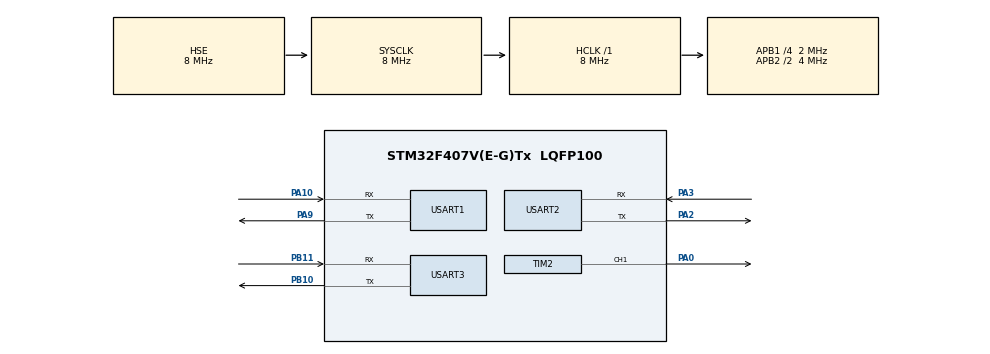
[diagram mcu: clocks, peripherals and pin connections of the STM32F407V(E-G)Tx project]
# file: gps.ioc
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FREERTOS.Tasks01=IDLE,-3,128,IDLE_Task,As weak,NULL,Dynamic,NULL,NULL
FREERTOS.configUSE_NEWLIB_REENTRANT=1
Mcu.Family=STM32F4
Mcu.Name=STM32F407V(E-G)Tx
Mcu.Package=LQFP100
NVIC.PriorityGroup=NVIC_PRIORITYGROUP_4
NVIC.TIM1_UP_TIM10_IRQn=true\:15\:0\:false\:false\:true\:false\:false\:true\:true
NVIC.TimeBase=TIM1_UP_TIM10_IRQn
NVIC.TimeBaseIP=TIM1
NVIC.USART1_IRQn=true\:5\:0\:false\:false\:true\:true\:true\:true\:true
NVIC.USART2_IRQn=true\:5\:0\:false\:false\:true\:true\:true\:true\:true
NVIC.USART3_IRQn=true\:5\:0\:false\:false\:true\:true\:true\:true\:true
PA0-WKUP.Signal=S_TIM2_CH1_ETR
PA10.Mode=Asynchronous
PA10.Signal=USART1_RX
PA13.Mode=Serial_Wire
PA13.Signal=SYS_JTMS-SWDIO
PA14.Mode=Serial_Wire
PA14.Signal=SYS_JTCK-SWCLK
PA2.Mode=Asynchronous
PA2.Signal=USART2_TX
PA3.Mode=Asynchronous
PA3.Signal=USART2_RX
PA9.Mode=Asynchronous
PA9.Signal=USART1_TX
PB10.Mode=Asynchronous
PB10.Signal=USART3_TX
PB11.Mode=Asynchronous
PB11.Signal=USART3_RX
PH0-OSC_IN.Mode=HSE-External-Oscillator
PH0-OSC_IN.Signal=RCC_OSC_IN
PH1-OSC_OUT.Mode=HSE-External-Oscillator
PH1-OSC_OUT.Signal=RCC_OSC_OUT
ProjectManager.HeapSize=0x200
ProjectManager.StackSize=0x400
ProjectManager.TargetToolchain=STM32CubeIDE
RCC.48MHZClocksFreq_Value=84000000
RCC.AHBFreq_Value=8000000
RCC.APB1CLKDivider=RCC_HCLK_DIV4
RCC.APB1Freq_Value=2000000
RCC.APB1TimFreq_Value=4000000
RCC.APB2CLKDivider=RCC_HCLK_DIV2
RCC.APB2Freq_Value=4000000
RCC.APB2TimFreq_Value=8000000
RCC.CortexFreq_Value=8000000
RCC.HCLKFreq_Value=8000000
RCC.HSE_VALUE=8000000
RCC.HSI_VALUE=16000000
RCC.LSE_VALUE=32768
RCC.PLLM=4
RCC.PLLN=168
RCC.PLLSourceVirtual=RCC_PLLSOURCE_HSE
RCC.SYSCLKFreq_VALUE=8000000
RCC.SYSCLKSource=RCC_SYSCLKSOURCE_HSE
RCC.VCOOutputFreq_Value=336000000
SH.S_TIM2_CH1_ETR.0=TIM2_CH1,PWM Generation1 CH1
TIM2.Channel-PWM\ Generation1\ CH1=TIM_CHANNEL_1
TIM2.Period=99
TIM2.Prescaler=8399
USART1.VirtualMode=VM_ASYNC
USART2.VirtualMode=VM_ASYNC
USART3.VirtualMode=VM_ASYNC
VP_FREERTOS_VS_CMSIS_V1.Mode=CMSIS_V1
VP_SYS_VS_tim1.Mode=TIM1
VP_TIM2_VS_ClockSourceINT.Mode=Internal
VP_TIM2_VS_ClockSourceITR.Mode=TriggerSource_ITR0
VP_TIM2_VS_ControllerModeGated.Mode=Gated Mode
board=custom

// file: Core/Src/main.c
/* USER CODE BEGIN Header */
/**
 ******************************************************************************
 * @file           : main.c
 * @brief          : Main program body
 ******************************************************************************
 * @attention
 *
 * Copyright (c) 2024 STMicroelectronics.
 * All rights reserved.
 *
 * This software is licensed under terms that can be found in the LICENSE file
 * in the root directory of this software component.
 * If no LICENSE file comes with this software, it is provided AS-IS.
 *
 ******************************************************************************
 */
/* USER CODE END Header */
#include "main.h"
#include "cmsis_os.h"

/* USER CODE BEGIN Includes */
#include <stdio.h>
#include <stdbool.h>
#include "gps.h"
#include "sim.h"
#include "FreeRTOSConfig.h"
/* USER CODE END Includes */

/* USER CODE BEGIN PD */
#define QUEUE_LENGTH 10      // �?ộ dài của queue
#define QUEUE_ITEM_SIZE 50   // Kích thước tối đa của mỗi chuỗi

#define LEN_COM_CMD 13
uint8_t COM_rx;
uint8_t COM_buffer[100];  // Bộ đệm để lưu chuỗi dữ liệu
uint8_t COM_idx = 0;      // Chỉ số để đánh dấu vị trí trong bộ đệm
bool is_COM_receiving = false; // Cờ để đánh dấu quá trình nhận dữ liệu

/* USER CODE END PD */

TIM_HandleTypeDef htim2;

UART_HandleTypeDef huart1;
UART_HandleTypeDef huart2;
UART_HandleTypeDef huart3;

osThreadId IDLEHandle;
/* USER CODE BEGIN PV */

osThreadId GPSHandle;
osThreadId COMHandle;
osThreadId OTAHandle;
osThreadId POSTHandle;
osThreadId WARNHandle;

osMutexId simMutexHandle;
osMessageQId gpsQueueHandle;
osMessageQId comQueueHandle;

/* USER CODE END PV */

void SystemClock_Config(void);
static void MX_GPIO_Init(void);
static void MX_TIM2_Init(void);
static void MX_USART1_UART_Init(void);
static void MX_USART2_UART_Init(void);
static void MX_USART3_UART_Init(void);
void IDLE_Task(void const *argument);

/* USER CODE BEGIN PFP */
void GPS_Task(void const *argument);
void COM_Task(void const *argument);
void OTA_Task(void const *argument);
void POST_Task(void const *argument);
void WARN_Task(void const *argument);

/* USER CODE END PFP */

/* USER CODE BEGIN 0 */
void HAL_UART_RxCpltCallback(UART_HandleTypeDef *huart) {
	if (huart->Instance == USART1) {
		// check ky tu start
		if (COM_rx == 'R') {
			memset(COM_buffer, 0, sizeof(COM_buffer));
			COM_idx = 0;
			is_COM_receiving = true;
		}

		// append data to com buffer
		if (is_COM_receiving) {
			COM_buffer[COM_idx] = COM_rx;
			COM_idx += 1;
		}

		// check ky tu ket thuc
		if (COM_rx == '#') {
			COM_buffer[COM_idx] = '\0';
			is_COM_receiving = false;
			if (COM_idx == LEN_COM_CMD) {
				if (osMessagePut(comQueueHandle, (uint32_t) COM_buffer, 1000) == osOK) {
					printf("Sent value: %s\n", COM_buffer);
				}
			}
		}
		HAL_UART_Receive_IT(&huart1, &COM_rx, 1);

	} else if (huart->Instance == USART2) {

	}
	if (huart->Instance == USART3) {

	}
}
/* USER CODE END 0 */

int main(void) {

	/* MCU Configuration--------------------------------------------------------*/

	/* Reset of all peripherals, Initializes the Flash interface and the Systick. */
	HAL_Init();

	/* Configure the system clock */
	SystemClock_Config();

	/* Initialize all configured peripherals */
	MX_GPIO_Init();
	MX_TIM2_Init();
	MX_USART1_UART_Init();
	MX_USART2_UART_Init();
	MX_USART3_UART_Init();
	/* USER CODE BEGIN 2 */
	HAL_UART_Receive_IT(&huart1, &COM_rx, 1);

	simInit();
	gpsInit();
	/* USER CODE END 2 */

	/* USER CODE BEGIN RTOS_MUTEX */
	/* add mutexes, ... */
	osMutexDef(simMutex);  // �?ịnh nghĩa Mutex
	simMutexHandle = osMutexCreate(osMutex(simMutex));
	/* USER CODE END RTOS_MUTEX */

	/* USER CODE BEGIN RTOS_QUEUES */
	osMessageQDef(gpsQueue, QUEUE_LENGTH, NULL);
	gpsQueueHandle = osMessageCreate(osMessageQ(gpsQueue), NULL);

	osMessageQDef(comQueue, QUEUE_LENGTH, NULL);
	comQueueHandle = osMessageCreate(osMessageQ(comQueue), NULL);
	/* add queues, ... */
	/* USER CODE END RTOS_QUEUES */

	/* Create the thread(s) */
	/* definition and creation of IDLE */
//  osThreadDef(IDLE, IDLE_Task, osPriorityIdle, 0, 128);
//  IDLEHandle = osThreadCreate(osThread(IDLE), NULL);
	/* USER CODE BEGIN RTOS_THREADS */
	/* add threads, ... */
	/* definition and creation of OTA */
	osThreadDef(OTA, OTA_Task, osPriorityHigh, 0, 5120);
	OTAHandle = osThreadCreate(osThread(OTA), NULL);

	/* definition and creation of WARN */
	osThreadDef(WARN, WARN_Task, osPriorityHigh, 0, 5120);
	WARNHandle = osThreadCreate(osThread(WARN), NULL);

	/* definition and creation of COM */
	osThreadDef(COM, COM_Task, osPriorityHigh, 0, 5120);
	COMHandle = osThreadCreate(osThread(COM), NULL);

	/* definition and creation of POST */
	osThreadDef(POST, POST_Task, osPriorityNormal, 0, 5120);
	POSTHandle = osThreadCreate(osThread(POST), NULL);

	/* definition and creation of GPS */
	osThreadDef(GPS, GPS_Task, osPriorityBelowNormal, 0, 5120);
	GPSHandle = osThreadCreate(osThread(GPS), NULL);

	/* USER CODE END RTOS_THREADS */

	/* Start scheduler */
	osKernelStart();

	/* We should never get here as control is now taken by the scheduler */

	/* Infinite loop */
	while (1) {

	}
}

void SystemClock_Config(void) {
	RCC_OscInitTypeDef RCC_OscInitStruct = { 0 };
	RCC_ClkInitTypeDef RCC_ClkInitStruct = { 0 };

	/** Configure the main internal regulator output voltage
	 */
	__HAL_RCC_PWR_CLK_ENABLE();
	__HAL_PWR_VOLTAGESCALING_CONFIG(PWR_REGULATOR_VOLTAGE_SCALE1);

	/** Initializes the RCC Oscillators according to the specified parameters
	 * in the RCC_OscInitTypeDef structure.
	 */
	RCC_OscInitStruct.OscillatorType = RCC_OSCILLATORTYPE_HSE;
	RCC_OscInitStruct.HSEState = RCC_HSE_ON;
	RCC_OscInitStruct.PLL.PLLState = RCC_PLL_NONE;
	if (HAL_RCC_OscConfig(&RCC_OscInitStruct) != HAL_OK) {
		Error_Handler();
	}

	/** Initializes the CPU, AHB and APB buses clocks
	 */
	RCC_ClkInitStruct.ClockType = RCC_CLOCKTYPE_HCLK | RCC_CLOCKTYPE_SYSCLK
	    | RCC_CLOCKTYPE_PCLK1 | RCC_CLOCKTYPE_PCLK2;
	RCC_ClkInitStruct.SYSCLKSource = RCC_SYSCLKSOURCE_HSE;
	RCC_ClkInitStruct.AHBCLKDivider = RCC_SYSCLK_DIV1;
	RCC_ClkInitStruct.APB1CLKDivider = RCC_HCLK_DIV4;
	RCC_ClkInitStruct.APB2CLKDivider = RCC_HCLK_DIV2;

	if (HAL_RCC_ClockConfig(&RCC_ClkInitStruct, FLASH_LATENCY_0) != HAL_OK) {
		Error_Handler();
	}
}

static void MX_TIM2_Init(void) {

	TIM_ClockConfigTypeDef sClockSourceConfig = { 0 };
	TIM_SlaveConfigTypeDef sSlaveConfig = { 0 };
	TIM_MasterConfigTypeDef sMasterConfig = { 0 };
	TIM_OC_InitTypeDef sConfigOC = { 0 };

	htim2.Instance = TIM2;
	htim2.Init.Prescaler = 8399;
	htim2.Init.CounterMode = TIM_COUNTERMODE_UP;
	htim2.Init.Period = 99;
	htim2.Init.ClockDivision = TIM_CLOCKDIVISION_DIV1;
	htim2.Init.AutoReloadPreload = TIM_AUTORELOAD_PRELOAD_DISABLE;
	if (HAL_TIM_Base_Init(&htim2) != HAL_OK) {
		Error_Handler();
	}
	sClockSourceConfig.ClockSource = TIM_CLOCKSOURCE_INTERNAL;
	if (HAL_TIM_ConfigClockSource(&htim2, &sClockSourceConfig) != HAL_OK) {
		Error_Handler();
	}
	if (HAL_TIM_PWM_Init(&htim2) != HAL_OK) {
		Error_Handler();
	}
	sSlaveConfig.SlaveMode = TIM_SLAVEMODE_GATED;
	sSlaveConfig.InputTrigger = TIM_TS_ITR0;
	if (HAL_TIM_SlaveConfigSynchro(&htim2, &sSlaveConfig) != HAL_OK) {
		Error_Handler();
	}
	sMasterConfig.MasterOutputTrigger = TIM_TRGO_RESET;
	sMasterConfig.MasterSlaveMode = TIM_MASTERSLAVEMODE_DISABLE;
	if (HAL_TIMEx_MasterConfigSynchronization(&htim2, &sMasterConfig) != HAL_OK) {
		Error_Handler();
	}
	sConfigOC.OCMode = TIM_OCMODE_PWM1;
	sConfigOC.Pulse = 0;
	sConfigOC.OCPolarity = TIM_OCPOLARITY_HIGH;
	sConfigOC.OCFastMode = TIM_OCFAST_DISABLE;
	if (HAL_TIM_PWM_ConfigChannel(&htim2, &sConfigOC, TIM_CHANNEL_1) != HAL_OK) {
		Error_Handler();
	}
	HAL_TIM_MspPostInit(&htim2);

}

static void MX_USART1_UART_Init(void) {

	huart1.Instance = USART1;
	huart1.Init.BaudRate = 115200;
	huart1.Init.WordLength = UART_WORDLENGTH_8B;
	huart1.Init.StopBits = UART_STOPBITS_1;
	huart1.Init.Parity = UART_PARITY_NONE;
	huart1.Init.Mode = UART_MODE_TX_RX;
	huart1.Init.HwFlowCtl = UART_HWCONTROL_NONE;
	huart1.Init.OverSampling = UART_OVERSAMPLING_16;
	if (HAL_UART_Init(&huart1) != HAL_OK) {
		Error_Handler();
	}

}

static void MX_USART2_UART_Init(void) {

	huart2.Instance = USART2;
	huart2.Init.BaudRate = 115200;
	huart2.Init.WordLength = UART_WORDLENGTH_8B;
	huart2.Init.StopBits = UART_STOPBITS_1;
	huart2.Init.Parity = UART_PARITY_NONE;
	huart2.Init.Mode = UART_MODE_TX_RX;
	huart2.Init.HwFlowCtl = UART_HWCONTROL_NONE;
	huart2.Init.OverSampling = UART_OVERSAMPLING_16;
	if (HAL_UART_Init(&huart2) != HAL_OK) {
		Error_Handler();
	}

}

static void MX_USART3_UART_Init(void) {

	huart3.Instance = USART3;
	huart3.Init.BaudRate = 115200;
	huart3.Init.WordLength = UART_WORDLENGTH_8B;
	huart3.Init.StopBits = UART_STOPBITS_1;
	huart3.Init.Parity = UART_PARITY_NONE;
	huart3.Init.Mode = UART_MODE_TX_RX;
	huart3.Init.HwFlowCtl = UART_HWCONTROL_NONE;
	huart3.Init.OverSampling = UART_OVERSAMPLING_16;
	if (HAL_UART_Init(&huart3) != HAL_OK) {
		Error_Handler();
	}

}

static void MX_GPIO_Init(void) {

	/* GPIO Ports Clock Enable */
	__HAL_RCC_GPIOH_CLK_ENABLE();
	__HAL_RCC_GPIOA_CLK_ENABLE();
	__HAL_RCC_GPIOB_CLK_ENABLE();

}

/* USER CODE BEGIN 4 */
/* USER CODE BEGIN Header_COM_Task */
/**
 * @brief Function implementing the COM thread.
 * @param argument: Not used
 * @retval None
 */
/* USER CODE END Header_COM_Task */
void COM_Task(void const *argument) {
	/* USER CODE BEGIN COM_Task */
	char COM_cmd[LEN_COM_CMD] = "";
	osEvent event;

	/* Infinite loop */
	for (;;) {
		event = osMessageGet(comQueueHandle, 0);
		if (event.status == osEventMessage) {
			// Dữ liệu đã được nhận thành công
			memset(COM_cmd, 0, LEN_COM_CMD);
			strcpy(COM_cmd, (char*) event.value.p);
			// handle COM CMD TODO

			// DATA 1

			// DATA 2

			// DATA 3

			// DATA 4

			// DATA 5

			printf("Data received from queue: %s\n", COM_cmd);
		} else {
			printf("Failed to receive data from queue!\n");
		}
		osDelay(1000);
	}
	/* USER CODE END COM_Task */
}

/* USER CODE BEGIN Header_OTA_Task */
/**
 * @brief Function implementing the OTA thread.
 * @param argument: Not used
 * @retval None
 */
/* USER CODE END Header_OTA_Task */
void OTA_Task(void const *argument) {
	/* USER CODE BEGIN OTA_Task */
	/* Infinite loop */
	for (;;) {
		if (osMutexWait(simMutexHandle, osWaitForever) == osOK) {
			// CALL CHECK NEW VERSION
			osMutexRelease(simMutexHandle);
		}
		osDelay(1800000);
	}
	/* USER CODE END OTA_Task */
}

/* USER CODE BEGIN Header_POST_Task */
/**
 * @brief Function implementing the POST thread.
 * @param argument: Not used
 * @retval None
 */
/* USER CODE END Header_POST_Task */
void POST_Task(void const *argument) {
	/* USER CODE BEGIN POST_Task */
	char gps_data_received[50] = "";
	osEvent event;

	/* Infinite loop */
	for (;;) {
		memset(gps_data_received, 0, sizeof(gps_data_received));
		// SEND GPS DATA
		event = osMessageGet(gpsQueueHandle, 0);
		if (event.status == osEventMessage) {
			// Dữ liệu đã được nhận thành công
			strcpy(gps_data_received, (char*) event.value.p);
			if (osMutexWait(simMutexHandle, osWaitForever) == osOK) {
				updateGPS(gps_data_received);
				osMutexRelease(simMutexHandle);
			}
			printf("Data received from queue: %s\n", gps_data_received);
		} else {
			printf("Failed to receive data from queue!\n");
		}
		// SEND DATA COMPENSATION
		osDelay(500);
	}
	/* USER CODE END POST_Task */
}

void GPS_Task(void const *argument) {
	char gps_data[50] = "";
	for (;;) {
		// get gps data
		getGPSData(gps_data);

		if (osMessagePut(gpsQueueHandle, (uint32_t) gps_data, 1000) == osOK) {
			printf("Sent value: %s\n", gps_data);
		}
		osDelay(1000);
	}
}
/* USER CODE BEGIN Header_WARN_Task */
/**
 * @brief Function implementing the WARN thread.
 * @param argument: Not used
 * @retval None
 */
/* USER CODE END Header_WARN_Task */
void WARN_Task(void const *argument) {
	/* USER CODE BEGIN WARN_Task */
	/* Infinite loop */
	for (;;) {
		osDelay(1000);
	}
	/* USER CODE END WARN_Task */
}
/* USER CODE END 4 */

__weak void IDLE_Task(void const *argument) {
	/* USER CODE BEGIN 5 */
	/* Infinite loop */
	for (;;) {
		osDelay(1000);
	}
	/* USER CODE END 5 */
}

void HAL_TIM_PeriodElapsedCallback(TIM_HandleTypeDef *htim) {
	if (htim->Instance == TIM1) {
		HAL_IncTick();
	}
}

void Error_Handler(void) {
	__disable_irq();
	while (1) {
	}
}
